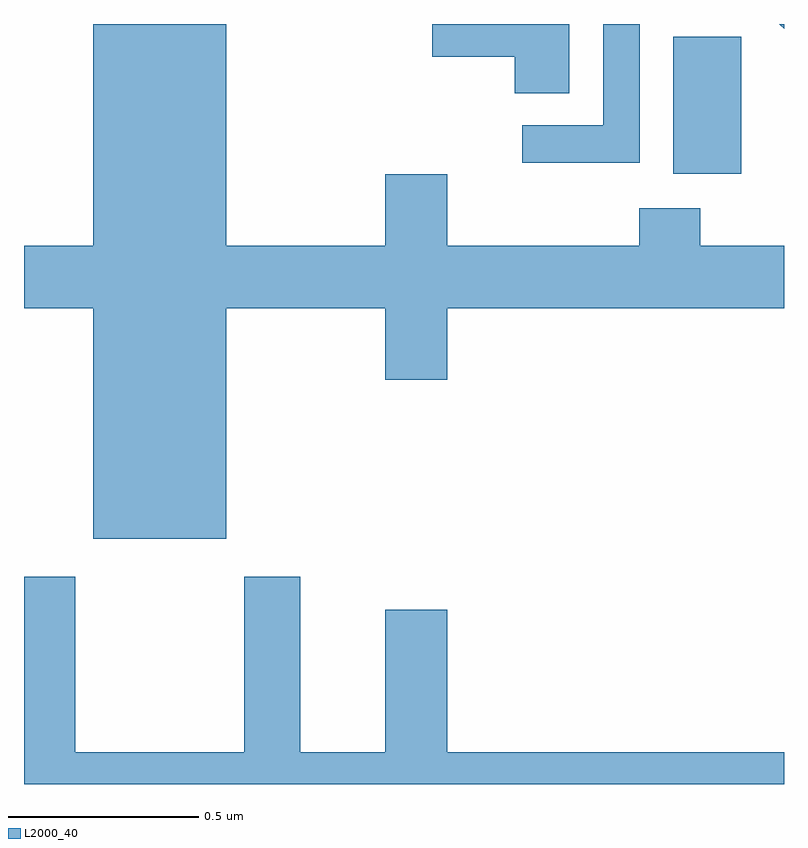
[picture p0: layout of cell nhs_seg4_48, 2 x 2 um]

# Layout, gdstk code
import gdstk
lib = gdstk.Library(unit=1e-6, precision=1e-09)
def R(c, l, rs):  # rectangles x0, y0, x1, y1
    for r in rs: c.add(gdstk.rectangle(r[:2], r[2:], *l))
def P(c, l, *ps):  # polygons
    for p in ps: c.add(gdstk.Polygon(p, *l))
L2000_40 = (2000, 40)

nhs_seg4_48 = lib.new_cell('nhs_seg4_48')
R(nhs_seg4_48, L2000_40, [(112.709,798.506,112.888,798.867)])
P(nhs_seg4_48, L2000_40, [(111.532,798.152),(111.95,798.152),(111.95,797.964),(112.114,797.964),(112.114,798.152),(113,798.152),(113,798.316),(112.779,798.316),(112.779,798.415),(112.619,798.415),(112.619,798.316),(112.114,798.316),(112.114,798.505),(111.95,798.505),(111.95,798.316),(111.532,798.316),(111.532,798.9),(111.182,798.9),(111.182,798.316),(111,798.316),(111,798.152),(111.182,798.152),(111.182,797.546),(111.532,797.546)],
  [(112.62,798.9),(112.524,798.9),(112.524,798.633),(112.311,798.633),(112.311,798.535),(112.62,798.535)],
  [(113,798.9),(112.987,798.9),(113,798.887)],
  [(112.435,798.9),(112.074,798.9),(112.074,798.814),(112.292,798.814),(112.292,798.718),(112.435,798.718)],
  [(113,796.984),(112.114,796.984),(112.114,797.359),(111.95,797.359),(111.95,796.984),(111.727,796.984),(111.727,797.446),(111.58,797.446),(111.58,796.984),(111.135,796.984),(111.135,797.446),(111,797.446),(111,796.9),(113,796.9)])

lib.write_gds('nhs_seg4_48.gds')
